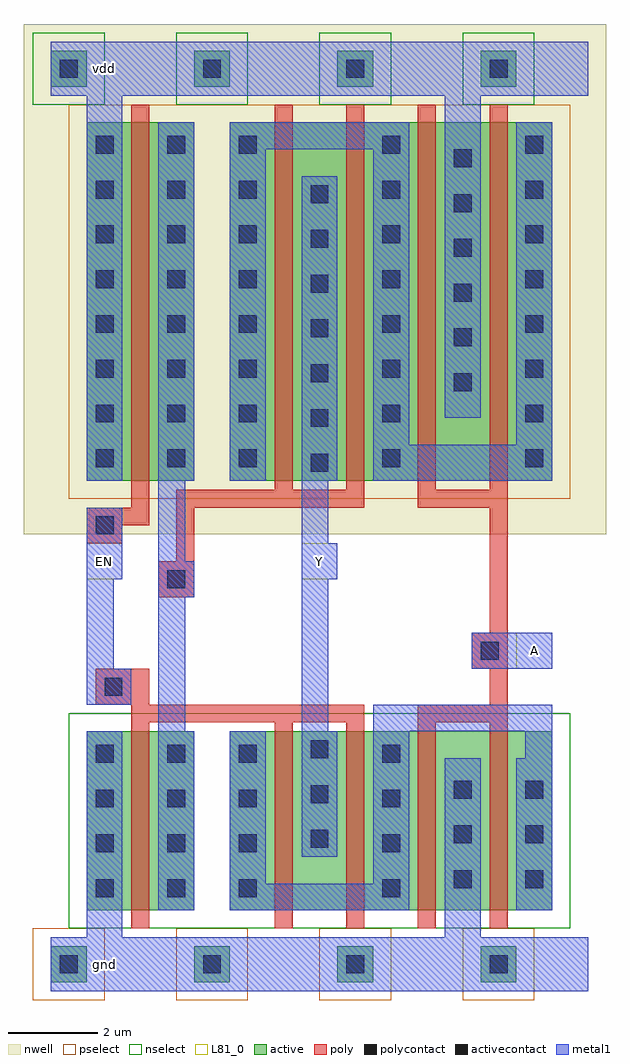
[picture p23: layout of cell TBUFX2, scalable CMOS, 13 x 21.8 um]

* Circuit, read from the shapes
.subckt TBUFX2 A EN Y gnd vdd
M1 n1 EN gnd gnd nfet w=4u l=0.4u
M2 Y EN n2 gnd nfet w=4u l=0.4u m=2
M3 gnd A n2 gnd nfet w=4u l=0.4u m=2
M4 n1 EN vdd vdd pfet w=8u l=0.4u
M5 Y n1 n3 vdd pfet w=8u l=0.4u m=2
M6 vdd A n3 vdd pfet w=8u l=0.4u m=2
.ends

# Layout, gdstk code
import gdstk
lib = gdstk.Library(unit=1e-6, precision=1e-09)
def R(c, l, rs):  # rectangles x0, y0, x1, y1
    for r in rs: c.add(gdstk.rectangle(r[:2], r[2:], *l))
def A(c, l, x, y, w, h, nx, ny, dx, dy):  # array of equal rectangles
    R(c, l, [(x+i*dx, y+j*dy, x+i*dx+w, y+j*dy+h) for i in range(nx) for j in range(ny)])
nwell = (42, 0)
active = (43, 0)
pselect = (44, 0)
nselect = (45, 0)
poly = (46, 0)
polycontact = (47, 0)
activecontact = (48, 0)
metal1 = (49, 0)
L81_0 = (81, 0)

tbufx2 = lib.new_cell('TBUFX2')
R(tbufx2, nwell, [(-1,9.6,12,21)])
A(tbufx2, active, -0.4, -0.4, 0.8, 0.8, 4, 2, 3.2, 20)
R(tbufx2, active, [(0.4,1.2,2.8,5.2), (3.6,1.2,10.8,5.2), (0.4,10.8,2.8,18.8), (3.6,10.8,10.8,18.8)])
A(tbufx2, pselect, -0.8, -0.8, 1.6, 1.6, 4, 1, 3.2, 0)
R(tbufx2, pselect, [(0,10.4,11.2,19.2)])
A(tbufx2, nselect, -0.8, 19.2, 1.6, 1.6, 4, 1, 3.2, 0)
R(tbufx2, nselect, [(0,0.8,11.2,5.6)])
A(tbufx2, poly, 4.6, 0.8, 0.4, 4.6, 4, 1, 1.6, 0)
A(tbufx2, poly, 4.6, 10.6, 0.4, 8.6, 4, 1, 1.6, 0)
R(tbufx2, poly, [(1.4,0.8,1.8,5.4), (1.4,5.4,6.6,5.8), (7.8,5.4,9.8,5.8), (0.6,5.8,1.8,6.6), (9.4,5.8,9.8,6.6), (9,6.6,9.8,7.4), (9.4,7.4,9.8,10.2), (2,8.2,2.8,9), (2.4,9,2.8,10.2), (0.4,9.4,1.2,9.8), (0.4,9.8,1.8,10.2), (1.4,10.2,1.8,19.2), (2.4,10.2,6.6,10.6), (7.8,10.2,9.8,10.6)])
R(tbufx2, polycontact, [(0.8,6,1.2,6.4), (9.2,6.8,9.6,7.2), (2.2,8.4,2.6,8.8), (0.6,9.6,1,10)])
A(tbufx2, activecontact, -0.2, -0.2, 0.4, 0.4, 4, 2, 3.2, 20)
A(tbufx2, activecontact, 0.6, 1.5, 0.4, 0.4, 3, 4, 1.6, 1)
A(tbufx2, activecontact, 7, 1.5, 0.4, 0.4, 1, 4, 0, 1)
A(tbufx2, activecontact, 8.6, 1.7, 0.4, 0.4, 1, 3, 0, 1)
A(tbufx2, activecontact, 10.2, 1.7, 0.4, 0.4, 1, 3, 0, 1)
A(tbufx2, activecontact, 5.4, 2.6, 0.4, 0.4, 1, 3, 0, 1)
A(tbufx2, activecontact, 5.4, 11, 0.4, 0.4, 1, 7, 0, 1)
A(tbufx2, activecontact, 0.6, 11.1, 0.4, 0.4, 3, 8, 1.6, 1)
A(tbufx2, activecontact, 7, 11.1, 0.4, 0.4, 1, 8, 0, 1)
A(tbufx2, activecontact, 10.2, 11.1, 0.4, 0.4, 1, 8, 0, 1)
A(tbufx2, activecontact, 8.6, 12.8, 0.4, 0.4, 1, 6, 0, 1)
R(tbufx2, metal1, [(-0.4,-0.6,11.6,0.6), (0.4,0.6,1.2,5.2), (8.4,0.6,9.2,4.6), (2,1.2,2.8,5.2), (3.6,1.2,7.6,1.8), (10,1.2,10.8,4.6), (3.6,1.8,4.4,5.2), (6.8,1.8,7.6,5.2), (5.2,2.4,6,5.2), (10.2,4.6,10.8,5.2), (2,5.2,2.6,8.2), (5.2,5.2,5.8,8.6), (6.8,5.2,10.8,5.8), (0.4,5.8,1.4,6.6), (0.4,6.6,1,8.6), (9,6.6,10.8,7.4), (2,8.2,2.8,9), (0.4,8.6,1.2,10.2), (5.2,8.6,6,9.4), (2,9,2.6,10.8), (5.2,9.4,5.8,10.8), (0.4,10.8,1.2,19.4), (2,10.8,2.8,18.8), (3.6,10.8,4.4,18.2), (5.2,10.8,6,17.6), (6.8,10.8,10.8,11.6), (6.8,11.6,7.6,18.2), (10,11.6,10.8,18.8), (8.4,12.2,9.2,19.4), (3.6,18.2,7.6,18.8), (-0.4,19.4,11.6,20.6)])
R(tbufx2, L81_0, [(10,6.6,10.8,7.4), (0.4,8.6,1.2,9.4), (5.2,8.6,6,9.4)])
tbufx2.add(gdstk.Label('vdd', (0.8,20), layer=109, texttype=0))
tbufx2.add(gdstk.Label('gnd', (0.8,0), layer=109, texttype=0))
tbufx2.add(gdstk.Label('A', (10.4,7), layer=109, texttype=0))
tbufx2.add(gdstk.Label('EN', (0.8,9), layer=109, texttype=0))
tbufx2.add(gdstk.Label('Y', (5.6,9), layer=109, texttype=0))

lib.write_gds('TBUFX2.gds')
